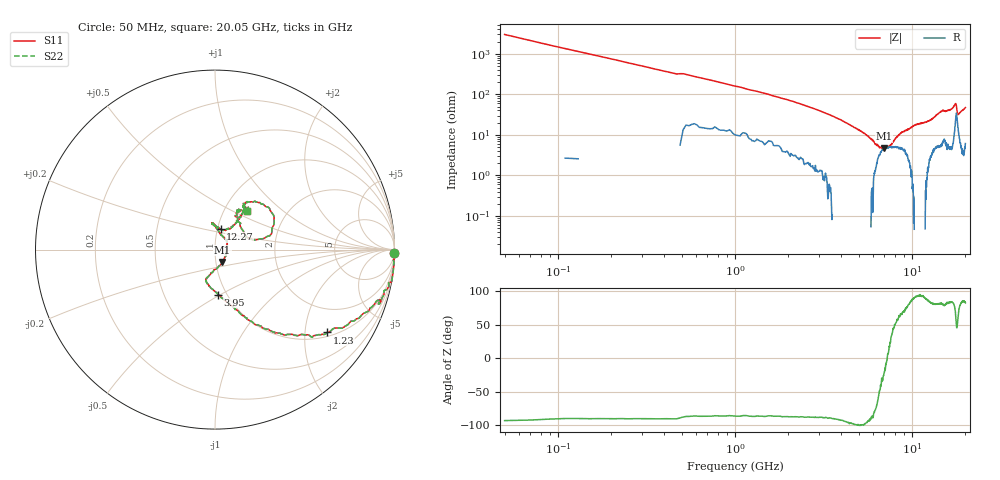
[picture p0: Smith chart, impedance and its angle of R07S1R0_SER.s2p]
! 500R07S1R0BV4
! Data taken April 11, 2003
! Data taken on a HP 8720C VNA using a series-through test fixture and TRL* de-embedding
#	mhz	s	ma	r	50
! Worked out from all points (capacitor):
!   1001 points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, 50 MHz to 20.05 GHz, reference 50 ohm
!   read as one part in series: C = 1.06 pF near 150 MHz
!   lowest |Z| = 4.64 ohm at 6.95 GHz (marker M1)
!   series resonance near 7.252 GHz, so ESL is about 450 pH
!   S11 on the Smith chart (normalised r, x): 50 MHz: open; 1.23 GHz: 1.12, -2.61; 3.95 GHz: 0.91, -0.49; 12.27 GHz: 1.03, +0.24; 20.05 GHz: 1.27, +0.59
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50  1 -1.0  0.03341 92.0  0.03341 92.0  1 -1.0
210  1 -8.2  0.1401 82.0  0.1401 82.0  1 -8.2
390  0.9707 -15.7  0.2532 74.5  0.2532 74.5  0.9707 -15.7
790  0.8943 -24.1  0.4365 61.5  0.4365 61.5  0.8943 -24.1
1230  0.7772 -36.4  0.6118 49.5  0.6118 49.5  0.7772 -36.4
2250  0.5238 -57.6  0.8344 29.6  0.8344 29.6  0.5238 -57.6
3390  0.3168 -74.8  0.9295 16.5  0.9295 16.5  0.3168 -74.8
3950  0.2512 -86.0  0.9481 12.2  0.9481 12.2  0.2512 -86.0
5130  0.1769 -107.0  0.9612 4.7  0.9612 4.7  0.1769 -107.0
6730  0.08976 -69.2  0.9545 -2.0  0.9545 -2.0  0.08976 -69.2
6950  0.07979 -59.4  0.9587 -2.1  0.9587 -2.1  0.07979 -59.4
7930  0.06539 2.7  0.9686 -5.3  0.9686 -5.3  0.06539 2.7
10050  0.1143 84.4  0.9717 -11.6  0.9717 -11.6  0.1143 84.4
11110  0.1497 96.9  0.9684 -13.8  0.9684 -13.8  0.1497 96.9
12270  0.1194 75.1  0.9542 -17.8  0.9542 -17.8  0.1194 75.1
13390  0.169 53.1  0.9516 -21.1  0.9516 -21.1  0.169 53.1
14770  0.2868 53.2  0.9153 -25.3  0.9153 -25.3  0.2868 53.2
16730  0.3105 57.1  0.8847 -28.5  0.8847 -28.5  0.3105 57.1
17650  0.3784 30.3  0.7498 -31.2  0.7498 -31.2  0.3784 30.3
17930  0.2732 12.8  0.7505 -21.4  0.7505 -21.4  0.2732 12.8
18250  0.186 30.5  0.8595 -22.2  0.8595 -22.2  0.186 30.5
20050  0.2772 50.6  0.8547 -34.9  0.8547 -34.9  0.2772 50.6
